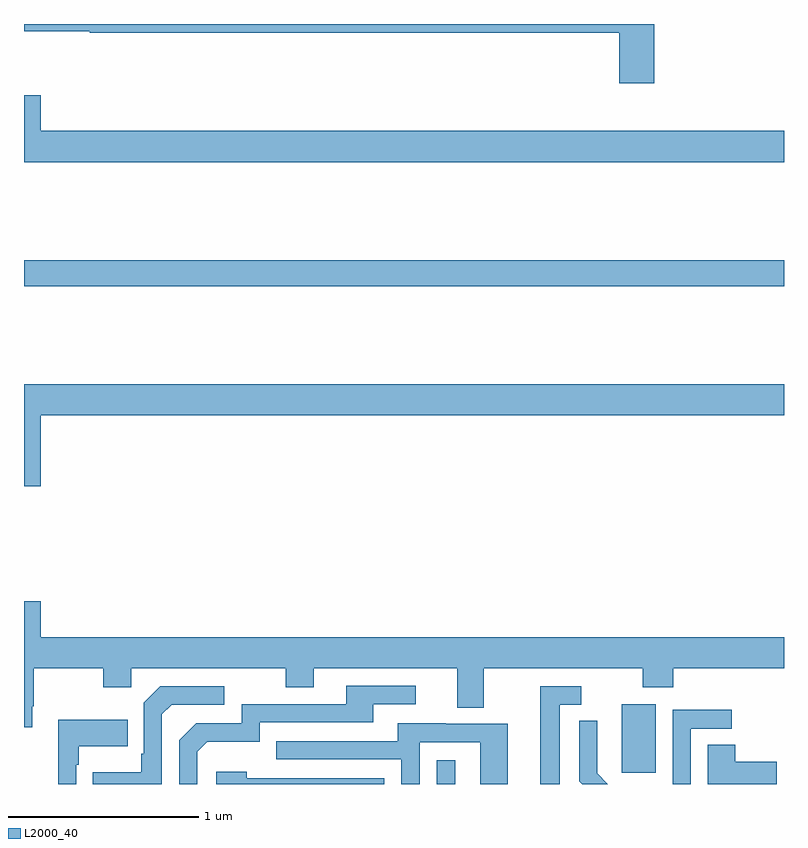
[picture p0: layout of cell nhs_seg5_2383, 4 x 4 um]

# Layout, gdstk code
import gdstk
lib = gdstk.Library(unit=1e-6, precision=1e-09)
def R(c, l, rs):  # rectangles x0, y0, x1, y1
    for r in rs: c.add(gdstk.rectangle(r[:2], r[2:], *l))
def P(c, l, *ps):  # polygons
    for p in ps: c.add(gdstk.Polygon(p, *l))
L2000_40 = (2000, 40)

nhs_seg5_2383 = lib.new_cell('nhs_seg5_2383')
R(nhs_seg5_2383, L2000_40, [(251.172,874.799,251.269,874.924), (252.146,874.857,252.325,875.218), (249,877.42,253,877.556)])
P(nhs_seg5_2383, L2000_40, [(252.317,878.799),(249,878.799),(249,878.76),(249.345,878.76),(249.345,878.752),(252.134,878.752),(252.134,878.487),(252.317,878.487)],
  [(253,878.236),(249.088,878.236),(249.088,878.425),(249,878.425),(249,878.072),(253,878.072)],
  [(249.088,876.74),(253,876.74),(253,876.904),(249,876.904),(249,876.366),(249.088,876.366)],
  [(249.043,875.209),(249.051,875.209),(249.051,875.408),(249.418,875.408),(249.418,875.309),(249.564,875.309),(249.564,875.408),(250.378,875.408),(250.378,875.309),(250.525,875.309),(250.525,875.408),(251.279,875.408),(251.279,875.2),(251.419,875.2),(251.419,875.408),(252.256,875.408),(252.256,875.309),(252.416,875.309),(252.416,875.408),(253,875.408),(253,875.572),(249.088,875.572),(249.088,875.761),(249,875.761),(249,875.097),(249.043,875.097)],
  [(249.912,874.968),(249.965,875.021),(250.242,875.021),(250.242,875.124),(250.837,875.124),(250.837,875.22),(251.062,875.22),(251.062,875.316),(250.697,875.316),(250.697,875.22),(250.146,875.22),(250.146,875.118),(249.906,875.118),(249.816,875.028),(249.816,874.799),(249.912,874.799)],
  [(249.726,875.166),(249.777,875.217),(250.054,875.217),(250.054,875.313),(249.717,875.313),(249.63,875.226),(249.63,874.957),(249.618,874.957),(249.618,874.861),(249.361,874.861),(249.361,874.799),(249.726,874.799)],
  [(251.821,875.217),(251.932,875.217),(251.932,875.313),(251.717,875.313),(251.717,874.799),(251.821,874.799)],
  [(252.51,875.091),(252.724,875.091),(252.724,875.19),(252.414,875.19),(252.414,874.799),(252.51,874.799)],
  [(249.276,874.901),(249.289,874.901),(249.289,874.997),(249.545,874.997),(249.545,875.137),(249.179,875.137),(249.179,874.799),(249.276,874.799)],
  [(252.017,874.856),(252.017,874.978),(252.018,874.978),(252.018,875.132),(251.922,875.132),(251.922,874.814),(251.937,874.799),(252.073,874.799)],
  [(251.082,875.019),(251.4,875.019),(251.4,874.799),(251.545,874.799),(251.545,875.115),(251.221,875.115),(251.221,875.119),(250.967,875.119),(250.967,875.025),(250.327,875.025),(250.327,874.929),(250.986,874.929),(250.986,874.799),(251.082,874.799)],
  [(252.961,874.916),(252.743,874.916),(252.743,875.006),(252.599,875.006),(252.599,874.799),(252.961,874.799)],
  [(250.896,874.83),(250.172,874.83),(250.172,874.864),(250.011,874.864),(250.011,874.799),(250.896,874.799)])

lib.write_gds('nhs_seg5_2383.gds')
